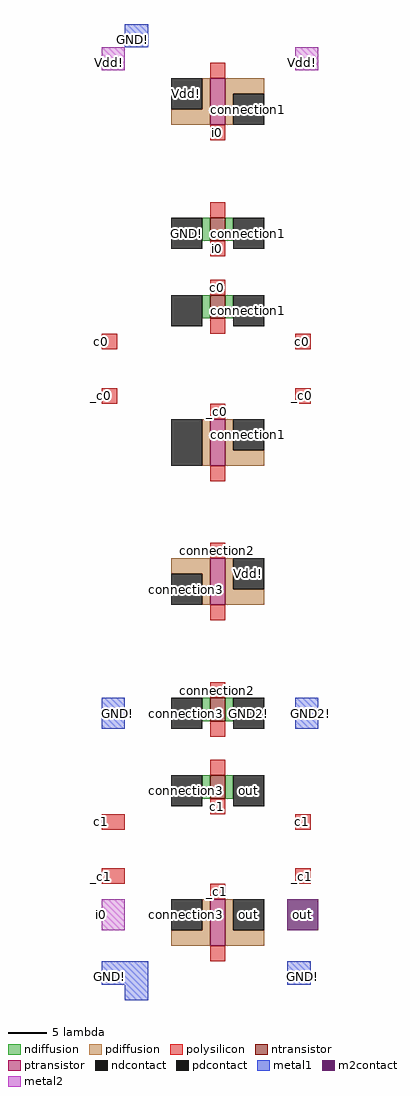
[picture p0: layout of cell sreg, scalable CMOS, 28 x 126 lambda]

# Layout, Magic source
magic
tech scmos
<< ntransistor >>
rect 5 0 7 3
rect 5 -10 7 -7
rect 5 -62 7 -59
rect 5 -72 7 -69
<< ptransistor >>
rect 5 15 7 21
rect 5 -29 7 -23
rect 5 -47 7 -41
rect 5 -91 7 -85
<< ndiffusion >>
rect 4 0 5 3
rect 7 0 8 3
rect 4 -10 5 -7
rect 7 -10 8 -7
rect 4 -62 5 -59
rect 7 -62 8 -59
rect 4 -72 5 -69
rect 7 -72 8 -69
<< pdiffusion >>
rect 4 17 5 21
rect 0 15 5 17
rect 7 19 12 21
rect 7 15 8 19
rect 4 -29 5 -23
rect 7 -27 8 -23
rect 7 -29 12 -27
rect 0 -43 5 -41
rect 4 -47 5 -43
rect 7 -45 8 -41
rect 7 -47 12 -45
rect 4 -89 5 -85
rect 0 -91 5 -89
rect 7 -89 8 -85
rect 7 -91 12 -89
<< ndcontact >>
rect 0 -1 4 3
rect 8 -1 12 3
rect 0 -11 4 -7
rect 8 -11 12 -7
rect 0 -63 4 -59
rect 8 -63 12 -59
rect 0 -73 4 -69
rect 8 -73 12 -69
<< pdcontact >>
rect 0 17 4 21
rect 8 15 12 19
rect 0 -29 4 -23
rect 8 -27 12 -23
rect 0 -47 4 -43
rect 8 -45 12 -41
rect 0 -89 4 -85
rect 8 -89 12 -85
<< polysilicon >>
rect 5 21 7 23
rect 5 13 7 15
rect 5 3 7 5
rect 5 -2 7 0
rect 5 -7 7 -5
rect 5 -12 7 -10
rect -9 -14 -7 -12
rect 16 -14 18 -12
rect -9 -21 -7 -19
rect 16 -21 18 -19
rect 5 -23 7 -21
rect 5 -31 7 -29
rect 5 -41 7 -39
rect 5 -49 7 -47
rect 5 -59 7 -57
rect 5 -64 7 -62
rect 5 -69 7 -67
rect 5 -74 7 -72
rect -9 -76 -6 -74
rect 16 -76 18 -74
rect -9 -83 -6 -81
rect 16 -83 18 -81
rect 5 -85 7 -83
rect 5 -93 7 -91
<< metal1 >>
rect -6 25 -3 28
rect -9 -63 -6 -59
rect 16 -63 19 -59
rect -9 -96 -3 -93
rect 15 -96 18 -93
rect -6 -98 -3 -96
<< m2contact >>
rect 15 -89 19 -85
<< metal2 >>
rect -9 22 -6 25
rect 16 22 19 25
rect -9 -89 -6 -85
<< labels >>
rlabel metal2 -9 -87 -9 -87 3 i0
rlabel metal1 -8 -95 -8 -95 2 GND!
rlabel metal2 -8 23 -8 23 4 Vdd!
rlabel polysilicon -9 -14 -9 -12 3 c0
rlabel polysilicon -9 -21 -9 -19 3 _c0
rlabel polysilicon -9 -76 -9 -74 3 c1
rlabel polysilicon -9 -83 -9 -81 3 _c1
rlabel pdcontact 2 19 2 19 1 Vdd!
rlabel metal2 17 23 17 23 6 Vdd!
rlabel metal1 -5 26 -5 26 4 GND!
rlabel metal1 17 -95 17 -95 8 GND!
rlabel metal1 18 -61 18 -61 7 GND2!
rlabel metal1 -7 -61 -7 -61 3 GND!
rlabel pdcontact 10 -25 10 -25 1 connection1
rlabel ndcontact 10 -9 10 -9 1 connection1
rlabel ndcontact 10 1 10 1 1 connection1
rlabel pdcontact 10 17 10 17 1 connection1
rlabel ndcontact 2 -9 2 -9 1 connection2
rlabel pdcontact 2 -26 2 -26 1 connection2
rlabel polysilicon 6 -40 6 -40 1 connection2
rlabel polysilicon 6 -58 6 -58 1 connection2
rlabel pdcontact 2 -45 2 -45 1 connection3
rlabel ndcontact 2 -61 2 -61 1 connection3
rlabel ndcontact 2 -71 2 -71 1 connection3
rlabel pdcontact 2 -87 2 -87 1 connection3
rlabel pdcontact 10 -43 10 -43 1 Vdd!
rlabel ndcontact 2 1 2 1 1 GND!
rlabel polysilicon 6 14 6 14 1 i0
rlabel polysilicon 6 -1 6 -1 1 i0
rlabel ndcontact 10 -71 10 -71 1 out
rlabel pdcontact 10 -87 10 -87 1 out
rlabel m2contact 17 -87 17 -87 7 out
rlabel polysilicon 6 -84 6 -84 1 _c1
rlabel polysilicon 6 -73 6 -73 1 c1
rlabel polysilicon 17 -75 17 -75 7 c1
rlabel polysilicon 17 -82 17 -82 7 _c1
rlabel polysilicon 17 -20 17 -20 7 _c0
rlabel polysilicon 6 -6 6 -6 1 c0
rlabel polysilicon 17 -13 17 -13 7 c0
rlabel ndcontact 10 -61 10 -61 1 GND2!
rlabel polysilicon 6 -22 6 -22 1 _c0
<< end >>
